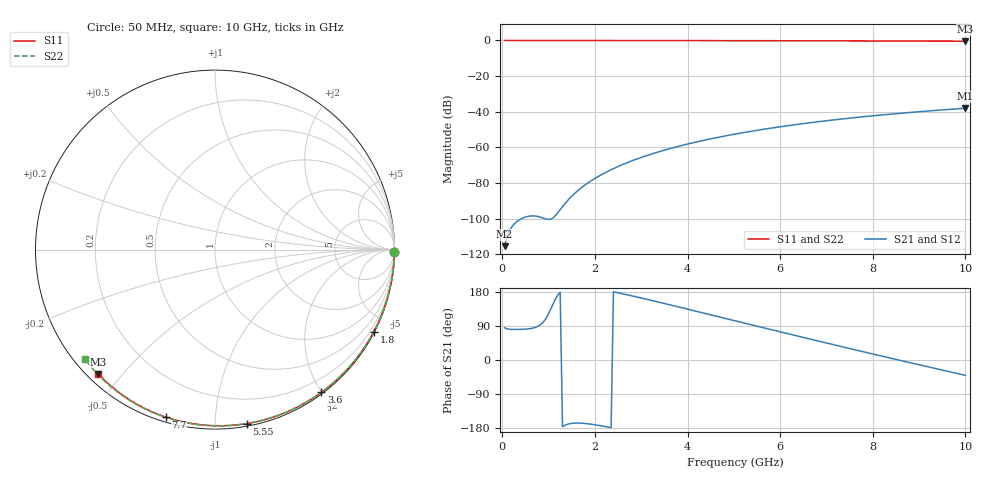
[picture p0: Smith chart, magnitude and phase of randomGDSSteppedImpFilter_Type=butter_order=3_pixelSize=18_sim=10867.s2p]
! freq	dB(S11)	phase(S11)	dB(S12)	phase(S12)
!  dB(S21)	phase(S21)	dB(S22)	phase(S22)
!S-par simulation data
#  GHz  S  DB  R 50
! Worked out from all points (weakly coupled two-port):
!   200 points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, 50 MHz to 10 GHz, reference 50 ohm
!   highest |S21| = -38.07 dB at 10 GHz (marker M1); lowest = -115.5 dB at 50 MHz (marker M2)
!   lowest |S11| = -0.4 dB at 10 GHz (marker M3), VSWR 38.89, Z = 1.53 - j21.6 ohm
!   |S11| at or under -10 dB: nowhere
!   |S22| runs from -0.5 to 0.0 dB; largest |S21 - S12| = 0
!   S11 on the Smith chart (normalised r, x): 50 MHz: open; 1.8 GHz: 0.04, -4.12; 3.6 GHz: 0.02, -1.99; 5.55 GHz: 0.02, -1.20; 7.7 GHz: 0.02, -0.75; 10 GHz: 0.03, -0.43
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0.05  -0.00 -0.8  -115.48 85.1  -115.48 85.1  -0.00 -0.8
0.45  -0.01 -6.9  -99.60 81.1  -99.60 81.1  -0.01 -7.3
0.9  -0.02 -13.8  -99.85 102.3  -99.85 102.3  -0.02 -14.5
1.75  -0.03 -26.5  -81.82 -167.1  -81.82 -167.1  -0.04 -27.9
1.8  -0.03 -27.3  -80.86 -167.7  -80.86 -167.7  -0.04 -28.7
1.85  -0.04 -28.0  -79.96 -168.3  -79.96 -168.3  -0.04 -29.5
2  -0.04 -30.2  -77.45 -170.9  -77.45 -170.9  -0.04 -31.8
2.15  -0.04 -32.5  -75.21 -174.0  -75.21 -174.0  -0.04 -34.1
2.35  -0.05 -35.4  -72.55 -178.8  -72.55 -178.8  -0.05 -37.2
2.55  -0.05 -38.3  -70.19 176.1  -70.19 176.1  -0.05 -40.3
2.95  -0.06 -44.1  -66.13 165.0  -66.13 165.0  -0.06 -46.4
3.4  -0.07 -50.5  -62.33 152.0  -62.33 152.0  -0.07 -53.1
3.6  -0.07 -53.3  -60.84 146.1  -60.84 146.1  -0.08 -56.0
4.3  -0.09 -63.0  -56.34 125.3  -56.34 125.3  -0.09 -66.2
5.05  -0.11 -73.1  -52.44 102.7  -52.44 102.7  -0.12 -76.7
5.55  -0.13 -79.6  -50.23 87.8  -50.23 87.8  -0.14 -83.6
6.1  -0.15 -86.7  -48.08 71.4  -48.08 71.4  -0.16 -90.9
6.7  -0.18 -94.2  -46.01 53.6  -46.01 53.6  -0.19 -98.8
7.7  -0.24 -106.4  -43.07 24.5  -43.07 24.5  -0.26 -111.6
8.35  -0.29 -114.1  -41.44 5.8  -41.44 5.8  -0.31 -119.7
9.2  -0.36 -124.0  -39.58 -18.2  -39.58 -18.2  -0.39 -130.1
10  -0.45 -133.2  -38.07 -40.5  -38.07 -40.5  -0.47 -139.9
